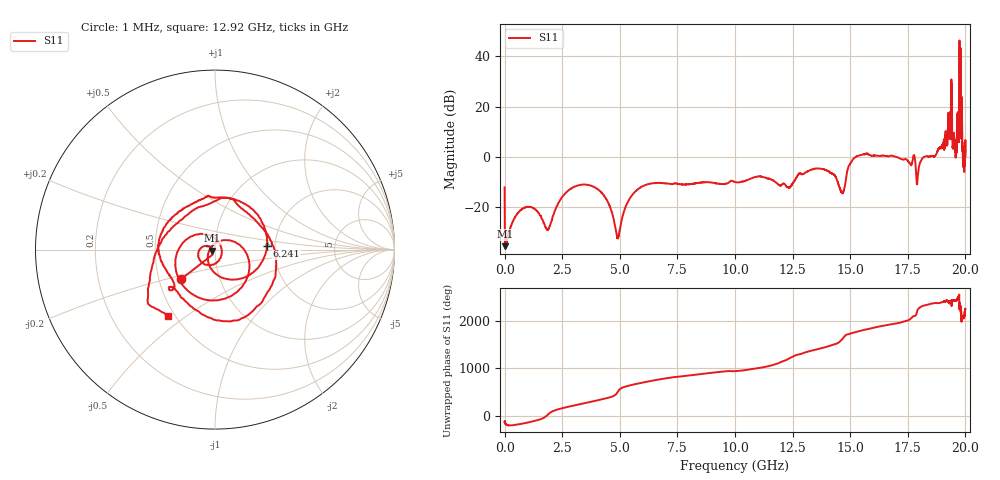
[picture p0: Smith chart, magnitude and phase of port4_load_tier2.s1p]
! Created with skrf 1.8.0 (http://scikit-rf.org).
# GHz S RI R 50.0
!freq ReS11 ImS11
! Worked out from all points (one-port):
!   10001 points, 1 MHz to 20 GHz, reference 50 ohm
!   lowest |S11| = -35.4 dB at 29 MHz (marker M1), VSWR 1.03, Z = 48.4 - j0.488 ohm
!   |S11| at or under -10 dB: start of sweep to 8.686 GHz; 8.849 GHz to 9.748 GHz (899.2 MHz wide, 9.67 % of centre); 11.76 GHz to 12.54 GHz (777.5 MHz wide, 6.4 % of centre) (the widest 3 of 16)
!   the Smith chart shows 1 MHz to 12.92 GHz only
!   S11 on the Smith chart (normalised r, x): 1 MHz: 0.65, -0.23; 6.241 GHz: 1.81, +0.07; 12.92 GHz: 0.46, -0.43
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0.001  -0.1885 -0.1645
0.0289986  -0.0163 -0.00504
2.500875  -0.1479 0.064
5.00075  -0.0338 -0.0115
6.240688  0.2896 0.018
7.500625  -0.0567 0.2881
10.0005  -0.2402 -0.2089
12.50038  -0.2926 0.058
12.92235  -0.2606 -0.3724
15.00025  0.3073 -0.6665
16.29619  0.00425 1.047
17.50013  -0.701 -0.463
17.80011  0.6168 -0.7547
18.0381  -0.538 0.5676
18.88406  -1.006 -1.105
19.14404  -0.5476 -2.4
19.33003  -3.513 -5.251
19.52402  0.3466 -1.875
19.63402  0.7421 -2.096
19.64202  1.338 -2.401
19.64402  1.17 -1.626
19.70401  1.091 -2.924
19.83601  0.1114 -6.785
19.84401  1.033 -2.532
19.84601  0.9893 -3.119
19.89601  0.1836 -0.818
19.89801  0.3207 -0.7996
20  -0.2452 1.331
